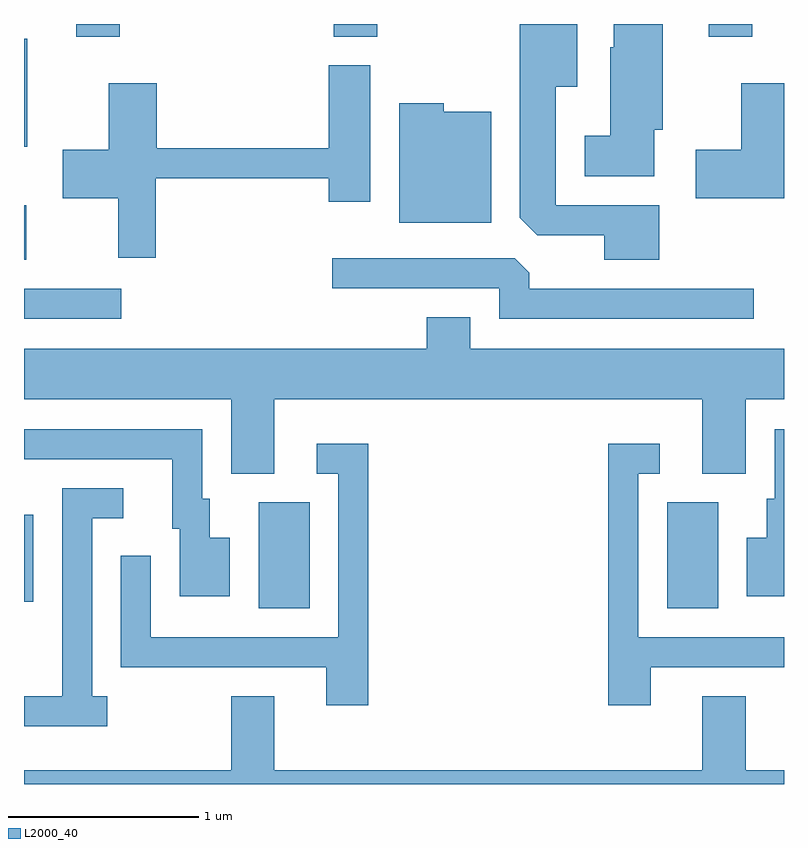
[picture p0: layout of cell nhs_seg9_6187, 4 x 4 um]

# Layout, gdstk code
import gdstk
lib = gdstk.Library(unit=1e-6, precision=1e-09)
def R(c, l, rs):  # rectangles x0, y0, x1, y1
    for r in rs: c.add(gdstk.rectangle(r[:2], r[2:], *l))
def P(c, l, *ps):  # polygons
    for p in ps: c.add(gdstk.Polygon(p, *l))
L2000_40 = (2000, 40)

nhs_seg9_6187 = lib.new_cell('nhs_seg9_6187')
R(nhs_seg9_6187, L2000_40, [(368.846,2017.356,369.114,2017.914), (370.996,2017.356,371.264,2017.914), (367.611,2017.391,367.659,2017.849), (367.611,2018.881,368.123,2019.039), (367.611,2019.191,367.624,2019.479), (367.611,2019.786,367.629,2020.354), (367.886,2020.366,368.114,2020.432), (369.241,2020.366,369.469,2020.432), (371.216,2020.366,371.444,2020.432)])
P(nhs_seg9_6187, L2000_40, [(370.929,2019.876),(370.974,2019.876),(370.974,2020.432),(370.716,2020.432),(370.716,2020.309),(370.696,2020.309),(370.696,2019.844),(370.561,2019.844),(370.561,2019.631),(370.929,2019.631)],
  [(370.954,2019.479),(370.409,2019.479),(370.409,2020.101),(370.524,2020.101),(370.524,2020.432),(370.221,2020.432),(370.221,2019.412),(370.312,2019.321),(370.666,2019.321),(370.666,2019.191),(370.954,2019.191)],
  [(368.304,2019.621),(369.216,2019.621),(369.216,2019.496),(369.434,2019.496),(369.434,2020.214),(369.216,2020.214),(369.216,2019.779),(368.309,2019.779),(368.309,2020.119),(368.056,2020.119),(368.056,2019.769),(367.816,2019.769),(367.816,2019.516),(368.106,2019.516),(368.106,2019.201),(368.304,2019.201)],
  [(371.611,2020.119),(371.386,2020.119),(371.386,2019.769),(371.146,2019.769),(371.146,2019.516),(371.611,2019.516)],
  [(370.069,2019.969),(369.819,2019.969),(369.819,2020.014),(369.586,2020.014),(369.586,2019.386),(370.069,2019.386)],
  [(371.453,2019.039),(370.269,2019.039),(370.269,2019.124),(370.194,2019.199),(369.233,2019.199),(369.233,2019.041),(370.111,2019.041),(370.111,2018.881),(371.453,2018.881)],
  [(368.929,2018.456),(371.181,2018.456),(371.181,2018.066),(371.409,2018.066),(371.409,2018.456),(371.611,2018.456),(371.611,2018.724),(369.959,2018.724),(369.959,2018.889),(369.731,2018.889),(369.731,2018.724),(367.611,2018.724),(367.611,2018.456),(368.701,2018.456),(368.701,2018.066),(368.929,2018.066)],
  [(371.611,2018.299),(371.561,2018.299),(371.561,2017.934),(371.521,2017.934),(371.521,2017.729),(371.416,2017.729),(371.416,2017.421),(371.611,2017.421)],
  [(368.694,2017.729),(368.589,2017.729),(368.589,2017.934),(368.549,2017.934),(368.549,2018.299),(367.611,2018.299),(367.611,2018.141),(368.391,2018.141),(368.391,2017.776),(368.431,2017.776),(368.431,2017.421),(368.694,2017.421)],
  [(370.909,2017.046),(371.611,2017.046),(371.611,2017.204),(370.844,2017.204),(370.844,2018.066),(370.958,2018.066),(370.958,2018.224),(370.686,2018.224),(370.686,2016.846),(370.909,2016.846)],
  [(369.424,2018.224),(369.153,2018.224),(369.153,2018.066),(369.266,2018.066),(369.266,2017.204),(368.279,2017.204),(368.279,2017.633),(368.121,2017.633),(368.121,2017.046),(369.201,2017.046),(369.201,2016.846),(369.424,2016.846)],
  [(368.048,2016.894),(367.969,2016.894),(367.969,2017.831),(368.133,2017.831),(368.133,2017.989),(367.811,2017.989),(367.811,2016.894),(367.611,2016.894),(367.611,2016.736),(368.048,2016.736)],
  [(371.611,2016.504),(371.409,2016.504),(371.409,2016.894),(371.181,2016.894),(371.181,2016.504),(368.929,2016.504),(368.929,2016.894),(368.701,2016.894),(368.701,2016.504),(367.611,2016.504),(367.611,2016.432),(371.611,2016.432)])

lib.write_gds('nhs_seg9_6187.gds')
